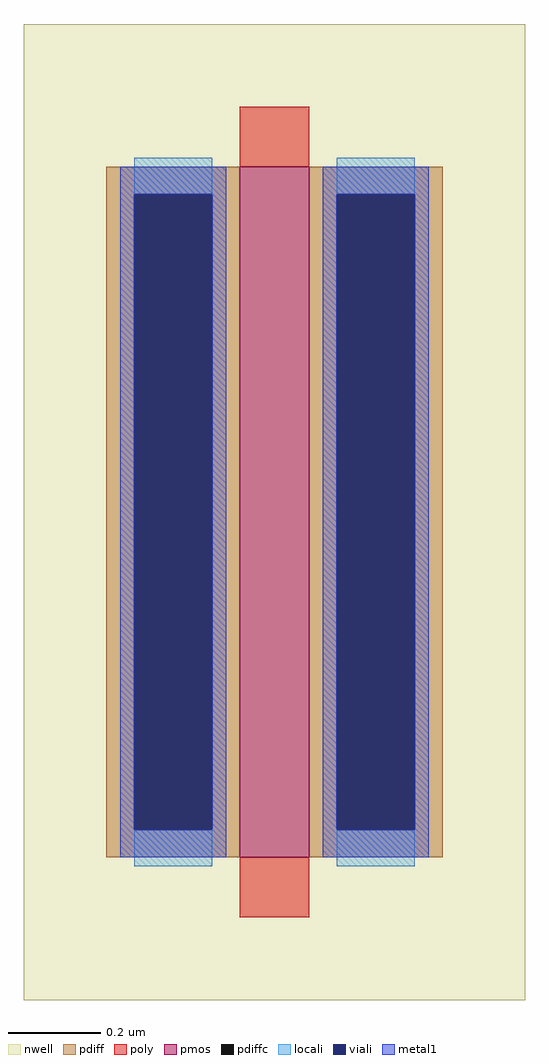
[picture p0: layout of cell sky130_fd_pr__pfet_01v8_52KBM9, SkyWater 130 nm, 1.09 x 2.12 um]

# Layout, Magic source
magic
tech sky130A
magscale 1 2
<< nwell >>
rect -109 -212 109 212
<< pmos >>
rect -15 -150 15 150
<< pdiff >>
rect -73 138 -15 150
rect -73 -138 -61 138
rect -27 -138 -15 138
rect -73 -150 -15 -138
rect 15 138 73 150
rect 15 -138 27 138
rect 61 -138 73 138
rect 15 -150 73 -138
<< pdiffc >>
rect -61 -138 -27 138
rect 27 -138 61 138
<< poly >>
rect -15 150 15 176
rect -15 -176 15 -150
<< locali >>
rect -61 138 -27 154
rect -61 -154 -27 -138
rect 27 138 61 154
rect 27 -154 61 -138
<< viali >>
rect -61 -138 -27 138
rect 27 -138 61 138
<< metal1 >>
rect -67 138 -21 150
rect -67 -138 -61 138
rect -27 -138 -21 138
rect -67 -150 -21 -138
rect 21 138 67 150
rect 21 -138 27 138
rect 61 -138 67 138
rect 21 -150 67 -138
<< properties >>
string gencell sky130_fd_pr__pfet_01v8
string library sky130
string parameters w 1.5 l 0.15 m 1 nf 1 diffcov 100 polycov 100 guard 0 glc 0 grc 0 gtc 0 gbc 0 tbcov 100 rlcov 100 topc 0 botc 0 poverlap 0 doverlap 0 lmin 0.15 wmin 0.42 compatible {sky130_fd_pr__pfet_01v8  sky130_fd_pr__pfet_01v8_lvt sky130_fd_pr__pfet_01v8_hvt  sky130_fd_pr__pfet_g5v0d10v5} full_metal 0 viasrc 100 viadrn 100 viagate 100 viagb 0 viagr 0 viagl 0 viagt 0
<< end >>
